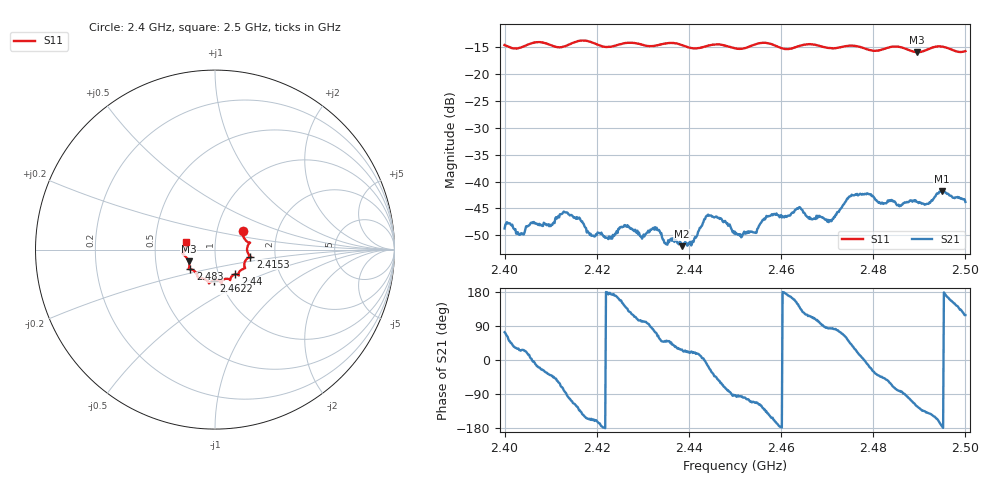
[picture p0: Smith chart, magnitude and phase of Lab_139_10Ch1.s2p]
# Hz S RI R 50
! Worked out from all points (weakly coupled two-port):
!   601 points, 2.4 GHz to 2.5 GHz, reference 50 ohm
!   highest |S21| = -41.75 dB at 2.4948 GHz (marker M1); lowest = -52.1 dB at 2.4385 GHz (marker M2)
!   lowest |S11| = -15.9 dB at 2.4895 GHz (marker M3), VSWR 1.38, Z = 36.9 - j5 ohm
!   |S11| at or under -10 dB: start of sweep to end of sweep
!   S12 and S22 are empty: the file has one direction only
!   S11 on the Smith chart (normalised r, x): 2.4 GHz: 1.33, +0.29; 2.4153 GHz: 1.48, -0.12; 2.44 GHz: 1.20, -0.34; 2.4622 GHz: 0.93, -0.33; 2.483 GHz: 0.74, -0.17; 2.5 GHz: 0.72, +0.06
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2.4e9  0.1544 0.1063  0.00105 0.0035  0 0  0 0
2.403667e9  0.1713 0.0516  0.0029 0.00144  0 0  0 0
2.413e9  0.1816 -0.0148  0.000644 -0.00515  0 0  0 0
2.415333e9  0.1966 -0.0387  -0.00214 -0.00405  0 0  0 0
2.416667e9  0.2023 -0.0425  -0.00316 -0.00284  0 0  0 0
2.4225e9  0.1653 -0.0705  -0.00288 0.00035  0 0  0 0
2.426167e9  0.1675 -0.101  -0.00303 0.00248  0 0  0 0
2.433333e9  0.1311 -0.1339  0.00154 0.00317  0 0  0 0
2.434833e9  0.1307 -0.1429  0.0017 0.00205  0 0  0 0
2.4385e9  0.126 -0.1384  0.00221 0.00115  0 0  0 0
2.44e9  0.1137 -0.1367  0.00252 0.000919  0 0  0 0
2.444167e9  0.0852 -0.1642  0.00472 -0.00137  0 0  0 0
2.45e9  0.0644 -0.1626  -0.000244 -0.00339  0 0  0 0
2.462167e9  -0.00749 -0.1737  -0.00485 0.00118  0 0  0 0
2.466667e9  -0.0339 -0.1876  -0.0017 0.0041  0 0  0 0
2.470833e9  -0.0562 -0.1656  0.000515 0.00422  0 0  0 0
2.475833e9  -0.0939 -0.1588  0.00634 0.00386  0 0  0 0
2.483e9  -0.1376 -0.1097  0.00388 -0.00509  0 0  0 0
2.483333e9  -0.14 -0.1097  0.00363 -0.00542  0 0  0 0
2.4895e9  -0.1465 -0.0659  -0.00343 -0.00546  0 0  0 0
2.494833e9  -0.1806 -0.0202  -0.00812 -0.000932  0 0  0 0
2.5e9  -0.1597 0.0396  -0.00308 0.00567  0 0  0 0
